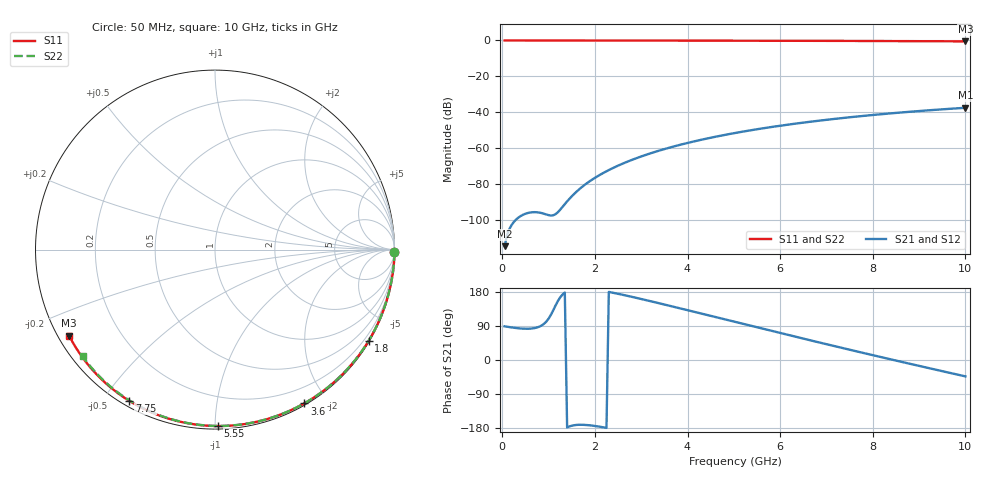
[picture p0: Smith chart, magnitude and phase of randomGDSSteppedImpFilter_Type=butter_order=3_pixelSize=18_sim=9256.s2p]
! freq	dB(S11)	phase(S11)	dB(S12)	phase(S12)
!  dB(S21)	phase(S21)	dB(S22)	phase(S22)
!S-par simulation data
#  GHz  S  DB  R 50
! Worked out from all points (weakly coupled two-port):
!   200 points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, 50 MHz to 10 GHz, reference 50 ohm
!   highest |S21| = -37.50 dB at 10 GHz (marker M1); lowest = -114.6 dB at 50 MHz (marker M2)
!   lowest |S11| = -0.5 dB at 10 GHz (marker M3), VSWR 34.44, Z = 1.56 - j13.6 ohm
!   |S11| at or under -10 dB: nowhere
!   |S22| runs from -0.5 to 0.0 dB; largest |S21 - S12| = 0
!   S11 on the Smith chart (normalised r, x): 50 MHz: open; 1.8 GHz: 0.03, -3.64; 3.6 GHz: 0.02, -1.74; 5.55 GHz: 0.02, -1.02; 7.75 GHz: 0.02, -0.58; 10 GHz: 0.03, -0.27
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0.05  -0.00 -0.9  -114.56 88.9  -114.56 88.9  -0.00 -0.8
0.45  -0.01 -7.8  -97.04 82.7  -97.04 82.7  -0.01 -7.3
0.9  -0.02 -15.5  -96.49 95.4  -96.49 95.4  -0.02 -14.6
1.3  -0.03 -22.3  -92.70 172.6  -92.70 172.6  -0.03 -21.0
1.75  -0.04 -29.9  -80.99 -171.1  -80.99 -171.1  -0.04 -28.1
1.8  -0.04 -30.7  -80.00 -171.4  -80.00 -171.4  -0.04 -28.9
1.95  -0.04 -33.2  -77.32 -173.3  -77.32 -173.3  -0.04 -31.3
2.1  -0.05 -35.7  -74.96 -175.9  -74.96 -175.9  -0.04 -33.6
2.3  -0.05 -39.0  -72.17 179.7  -72.17 179.7  -0.05 -36.7
2.5  -0.05 -42.3  -69.71 174.7  -69.71 174.7  -0.05 -39.8
2.9  -0.06 -48.8  -65.52 163.8  -65.52 163.8  -0.06 -45.9
3.4  -0.08 -56.7  -61.24 149.4  -61.24 149.4  -0.07 -53.5
3.6  -0.08 -59.9  -59.75 143.5  -59.75 143.5  -0.08 -56.4
4.3  -0.10 -70.7  -55.28 122.4  -55.28 122.4  -0.09 -66.6
5.05  -0.13 -81.9  -51.42 99.8  -51.42 99.8  -0.12 -77.3
5.55  -0.15 -89.1  -49.24 84.7  -49.24 84.7  -0.14 -84.2
6.1  -0.17 -96.9  -47.13 68.3  -47.13 68.3  -0.16 -91.6
6.7  -0.21 -105.3  -45.10 50.5  -45.10 50.5  -0.19 -99.5
7.75  -0.28 -119.6  -42.12 19.9  -42.12 19.9  -0.26 -113.0
8.35  -0.33 -127.6  -40.68 2.7  -40.68 2.7  -0.31 -120.6
9.2  -0.41 -138.8  -38.91 -21.1  -38.91 -21.1  -0.38 -131.2
10  -0.50 -149.5  -37.50 -43.2  -37.50 -43.2  -0.47 -141.2
